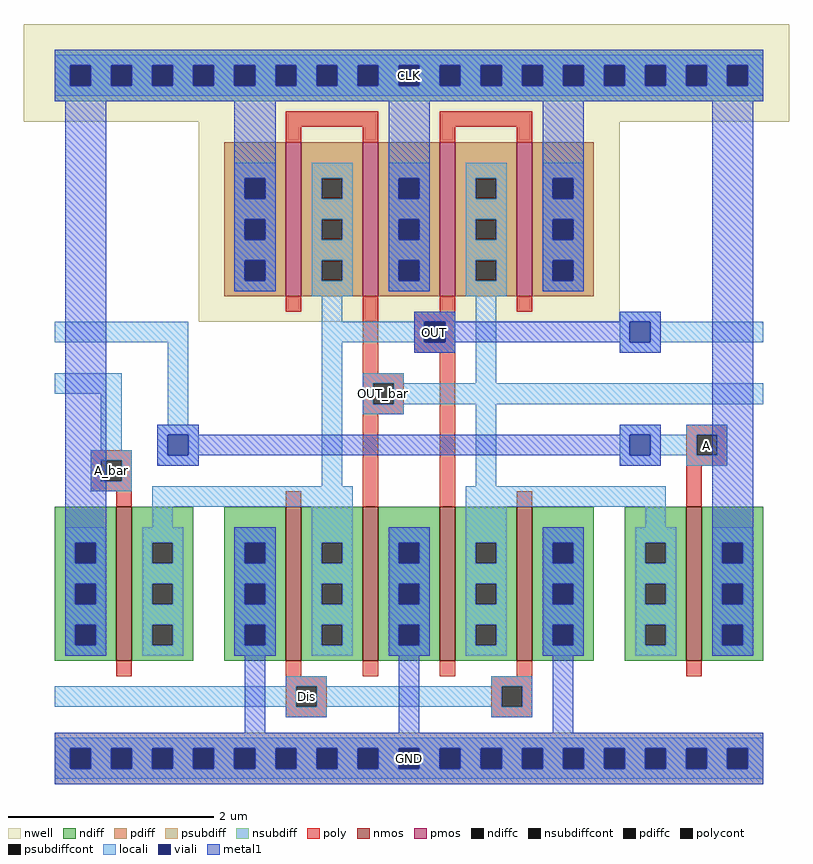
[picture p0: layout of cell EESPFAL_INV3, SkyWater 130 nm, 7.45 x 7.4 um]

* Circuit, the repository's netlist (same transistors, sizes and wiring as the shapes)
* NGSPICE file created from EESPFAL_INV3.ext - technology: sky130A

.subckt EESPFAL_INV3 A A_bar OUT OUT_bar Dis GND CLK
X0 OUT_bar OUT GND GND sky130_fd_pr__nfet_01v8 ad=1.8e+12p pd=8.4e+06u as=2.7e+12p ps=1.26e+07u w=1.5e+06u l=150000u
X1 CLK A OUT_bar GND sky130_fd_pr__nfet_01v8 ad=5.25e+12p pd=2.32e+07u as=0p ps=0u w=1.5e+06u l=150000u
X2 OUT Dis GND GND sky130_fd_pr__nfet_01v8 ad=1.8e+12p pd=8.4e+06u as=0p ps=0u w=1.5e+06u l=150000u
X3 CLK OUT OUT_bar CLK sky130_fd_pr__pfet_01v8 ad=2.7e+12p pd=1.26e+07u as=9e+11p ps=4.2e+06u w=1.5e+06u l=150000u M=2
X4 OUT A_bar CLK GND sky130_fd_pr__nfet_01v8 ad=0p pd=0u as=0p ps=0u w=1.5e+06u l=150000u
X5 CLK OUT_bar OUT CLK sky130_fd_pr__pfet_01v8 ad=0p pd=0u as=9e+11p ps=4.2e+06u w=1.5e+06u l=150000u M=2
X6 GND Dis OUT_bar GND sky130_fd_pr__nfet_01v8 ad=0p pd=0u as=0p ps=0u w=1.5e+06u l=150000u
X7 GND OUT_bar OUT GND sky130_fd_pr__nfet_01v8 ad=0p pd=0u as=0p ps=0u w=1.5e+06u l=150000u
.ends

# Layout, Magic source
magic
tech sky130A
<< nwell >>
rect -940 795 -195 890
rect -770 600 -360 795
<< nmos >>
rect -850 270 -835 420
rect -685 270 -670 420
rect -610 270 -595 420
rect -535 270 -520 420
rect -460 270 -445 420
rect -295 270 -280 420
<< pmos >>
rect -685 625 -670 775
rect -610 625 -595 775
rect -535 625 -520 775
rect -460 625 -445 775
<< ndiff >>
rect -910 385 -850 420
rect -910 365 -890 385
rect -870 365 -850 385
rect -910 345 -850 365
rect -910 325 -890 345
rect -870 325 -850 345
rect -910 305 -850 325
rect -910 285 -890 305
rect -870 285 -850 305
rect -910 270 -850 285
rect -835 385 -775 420
rect -835 365 -815 385
rect -795 365 -775 385
rect -835 345 -775 365
rect -835 325 -815 345
rect -795 325 -775 345
rect -835 305 -775 325
rect -835 285 -815 305
rect -795 285 -775 305
rect -835 270 -775 285
rect -745 385 -685 420
rect -745 365 -725 385
rect -705 365 -685 385
rect -745 345 -685 365
rect -745 325 -725 345
rect -705 325 -685 345
rect -745 305 -685 325
rect -745 285 -725 305
rect -705 285 -685 305
rect -745 270 -685 285
rect -670 385 -610 420
rect -670 365 -650 385
rect -630 365 -610 385
rect -670 345 -610 365
rect -670 325 -650 345
rect -630 325 -610 345
rect -670 305 -610 325
rect -670 285 -650 305
rect -630 285 -610 305
rect -670 270 -610 285
rect -595 385 -535 420
rect -595 365 -575 385
rect -555 365 -535 385
rect -595 345 -535 365
rect -595 325 -575 345
rect -555 325 -535 345
rect -595 305 -535 325
rect -595 285 -575 305
rect -555 285 -535 305
rect -595 270 -535 285
rect -520 385 -460 420
rect -520 365 -500 385
rect -480 365 -460 385
rect -520 345 -460 365
rect -520 325 -500 345
rect -480 325 -460 345
rect -520 305 -460 325
rect -520 285 -500 305
rect -480 285 -460 305
rect -520 270 -460 285
rect -445 385 -385 420
rect -445 365 -425 385
rect -405 365 -385 385
rect -445 345 -385 365
rect -445 325 -425 345
rect -405 325 -385 345
rect -445 305 -385 325
rect -445 285 -425 305
rect -405 285 -385 305
rect -445 270 -385 285
rect -355 385 -295 420
rect -355 365 -335 385
rect -315 365 -295 385
rect -355 345 -295 365
rect -355 325 -335 345
rect -315 325 -295 345
rect -355 305 -295 325
rect -355 285 -335 305
rect -315 285 -295 305
rect -355 270 -295 285
rect -280 385 -220 420
rect -280 365 -260 385
rect -240 365 -220 385
rect -280 345 -220 365
rect -280 325 -260 345
rect -240 325 -220 345
rect -280 305 -220 325
rect -280 285 -260 305
rect -240 285 -220 305
rect -280 270 -220 285
<< pdiff >>
rect -745 740 -685 775
rect -745 720 -725 740
rect -705 720 -685 740
rect -745 700 -685 720
rect -745 680 -725 700
rect -705 680 -685 700
rect -745 660 -685 680
rect -745 640 -725 660
rect -705 640 -685 660
rect -745 625 -685 640
rect -670 740 -610 775
rect -670 720 -650 740
rect -630 720 -610 740
rect -670 700 -610 720
rect -670 680 -650 700
rect -630 680 -610 700
rect -670 660 -610 680
rect -670 640 -650 660
rect -630 640 -610 660
rect -670 625 -610 640
rect -595 740 -535 775
rect -595 720 -575 740
rect -555 720 -535 740
rect -595 700 -535 720
rect -595 680 -575 700
rect -555 680 -535 700
rect -595 660 -535 680
rect -595 640 -575 660
rect -555 640 -535 660
rect -595 625 -535 640
rect -520 740 -460 775
rect -520 720 -500 740
rect -480 720 -460 740
rect -520 700 -460 720
rect -520 680 -500 700
rect -480 680 -460 700
rect -520 660 -460 680
rect -520 640 -500 660
rect -480 640 -460 660
rect -520 625 -460 640
rect -445 740 -385 775
rect -445 720 -425 740
rect -405 720 -385 740
rect -445 700 -385 720
rect -445 680 -425 700
rect -405 680 -385 700
rect -445 660 -385 680
rect -445 640 -425 660
rect -405 640 -385 660
rect -445 625 -385 640
<< ndiffc >>
rect -890 365 -870 385
rect -890 325 -870 345
rect -890 285 -870 305
rect -815 365 -795 385
rect -815 325 -795 345
rect -815 285 -795 305
rect -725 365 -705 385
rect -725 325 -705 345
rect -725 285 -705 305
rect -650 365 -630 385
rect -650 325 -630 345
rect -650 285 -630 305
rect -575 365 -555 385
rect -575 325 -555 345
rect -575 285 -555 305
rect -500 365 -480 385
rect -500 325 -480 345
rect -500 285 -480 305
rect -425 365 -405 385
rect -425 325 -405 345
rect -425 285 -405 305
rect -335 365 -315 385
rect -335 325 -315 345
rect -335 285 -315 305
rect -260 365 -240 385
rect -260 325 -240 345
rect -260 285 -240 305
<< pdiffc >>
rect -725 720 -705 740
rect -725 680 -705 700
rect -725 640 -705 660
rect -650 720 -630 740
rect -650 680 -630 700
rect -650 640 -630 660
rect -575 720 -555 740
rect -575 680 -555 700
rect -575 640 -555 660
rect -500 720 -480 740
rect -500 680 -480 700
rect -500 640 -480 660
rect -425 720 -405 740
rect -425 680 -405 700
rect -425 640 -405 660
<< psubdiff >>
rect -910 185 -220 200
rect -910 165 -895 185
rect -875 165 -855 185
rect -835 165 -815 185
rect -795 165 -775 185
rect -755 165 -735 185
rect -715 165 -695 185
rect -675 165 -655 185
rect -635 165 -615 185
rect -595 165 -575 185
rect -555 165 -535 185
rect -515 165 -495 185
rect -475 165 -455 185
rect -435 165 -415 185
rect -395 165 -375 185
rect -355 165 -335 185
rect -315 165 -295 185
rect -275 165 -255 185
rect -235 165 -220 185
rect -910 150 -220 165
<< nsubdiff >>
rect -910 850 -220 865
rect -910 830 -895 850
rect -875 830 -855 850
rect -835 830 -815 850
rect -795 830 -775 850
rect -755 830 -735 850
rect -715 830 -695 850
rect -675 830 -655 850
rect -635 830 -615 850
rect -595 830 -575 850
rect -555 830 -535 850
rect -515 830 -495 850
rect -475 830 -455 850
rect -435 830 -415 850
rect -395 830 -375 850
rect -355 830 -335 850
rect -315 830 -295 850
rect -275 830 -255 850
rect -235 830 -220 850
rect -910 815 -220 830
<< psubdiffcont >>
rect -895 165 -875 185
rect -855 165 -835 185
rect -815 165 -795 185
rect -775 165 -755 185
rect -735 165 -715 185
rect -695 165 -675 185
rect -655 165 -635 185
rect -615 165 -595 185
rect -575 165 -555 185
rect -535 165 -515 185
rect -495 165 -475 185
rect -455 165 -435 185
rect -415 165 -395 185
rect -375 165 -355 185
rect -335 165 -315 185
rect -295 165 -275 185
rect -255 165 -235 185
<< nsubdiffcont >>
rect -895 830 -875 850
rect -855 830 -835 850
rect -815 830 -795 850
rect -775 830 -755 850
rect -735 830 -715 850
rect -695 830 -675 850
rect -655 830 -635 850
rect -615 830 -595 850
rect -575 830 -555 850
rect -535 830 -515 850
rect -495 830 -475 850
rect -455 830 -435 850
rect -415 830 -395 850
rect -375 830 -355 850
rect -335 830 -315 850
rect -295 830 -275 850
rect -255 830 -235 850
<< poly >>
rect -685 790 -595 805
rect -685 775 -670 790
rect -610 775 -595 790
rect -535 790 -445 805
rect -535 775 -520 790
rect -460 775 -445 790
rect -685 610 -670 625
rect -610 550 -595 625
rect -535 610 -520 625
rect -460 610 -445 625
rect -560 600 -520 610
rect -560 580 -550 600
rect -530 580 -520 600
rect -560 570 -520 580
rect -610 540 -570 550
rect -610 520 -600 540
rect -580 520 -570 540
rect -610 510 -570 520
rect -875 465 -835 475
rect -875 445 -865 465
rect -845 445 -835 465
rect -875 435 -835 445
rect -850 420 -835 435
rect -685 420 -670 435
rect -610 420 -595 510
rect -535 420 -520 570
rect -295 490 -255 500
rect -295 470 -285 490
rect -265 470 -255 490
rect -295 460 -255 470
rect -460 420 -445 435
rect -295 420 -280 460
rect -850 255 -835 270
rect -685 255 -670 270
rect -610 255 -595 270
rect -535 255 -520 270
rect -460 255 -445 270
rect -295 255 -280 270
rect -685 245 -645 255
rect -685 225 -675 245
rect -655 225 -645 245
rect -685 215 -645 225
rect -485 245 -445 255
rect -485 225 -475 245
rect -455 225 -445 245
rect -485 215 -445 225
<< polycont >>
rect -550 580 -530 600
rect -600 520 -580 540
rect -865 445 -845 465
rect -285 470 -265 490
rect -675 225 -655 245
rect -475 225 -455 245
<< locali >>
rect -910 850 -220 860
rect -910 830 -895 850
rect -875 830 -855 850
rect -835 830 -815 850
rect -795 830 -775 850
rect -755 830 -735 850
rect -715 830 -695 850
rect -675 830 -655 850
rect -635 830 -615 850
rect -595 830 -575 850
rect -555 830 -535 850
rect -515 830 -495 850
rect -475 830 -455 850
rect -435 830 -415 850
rect -395 830 -375 850
rect -355 830 -335 850
rect -315 830 -295 850
rect -275 830 -255 850
rect -235 830 -220 850
rect -910 820 -220 830
rect -735 740 -695 755
rect -735 720 -725 740
rect -705 720 -695 740
rect -735 700 -695 720
rect -735 680 -725 700
rect -705 680 -695 700
rect -735 660 -695 680
rect -735 640 -725 660
rect -705 640 -695 660
rect -735 630 -695 640
rect -660 740 -620 755
rect -660 720 -650 740
rect -630 720 -620 740
rect -660 700 -620 720
rect -660 680 -650 700
rect -630 680 -620 700
rect -660 660 -620 680
rect -660 640 -650 660
rect -630 640 -620 660
rect -660 625 -620 640
rect -585 740 -545 755
rect -585 720 -575 740
rect -555 720 -545 740
rect -585 700 -545 720
rect -585 680 -575 700
rect -555 680 -545 700
rect -585 660 -545 680
rect -585 640 -575 660
rect -555 640 -545 660
rect -585 630 -545 640
rect -510 740 -470 755
rect -510 720 -500 740
rect -480 720 -470 740
rect -510 700 -470 720
rect -510 680 -500 700
rect -480 680 -470 700
rect -510 660 -470 680
rect -510 640 -500 660
rect -480 640 -470 660
rect -510 625 -470 640
rect -435 740 -395 755
rect -435 720 -425 740
rect -405 720 -395 740
rect -435 700 -395 720
rect -435 680 -425 700
rect -405 680 -395 700
rect -435 660 -395 680
rect -435 640 -425 660
rect -405 640 -395 660
rect -435 630 -395 640
rect -650 600 -630 625
rect -560 600 -520 610
rect -910 580 -780 600
rect -910 530 -845 550
rect -865 475 -845 530
rect -800 500 -780 580
rect -650 580 -550 600
rect -530 580 -520 600
rect -810 490 -770 500
rect -875 465 -835 475
rect -875 445 -865 465
rect -845 445 -835 465
rect -810 470 -800 490
rect -780 470 -770 490
rect -810 460 -770 470
rect -875 435 -835 445
rect -650 440 -630 580
rect -560 570 -520 580
rect -610 540 -570 550
rect -500 540 -480 625
rect -360 600 -320 610
rect -360 580 -350 600
rect -330 580 -220 600
rect -360 570 -320 580
rect -610 520 -600 540
rect -580 520 -220 540
rect -610 510 -570 520
rect -500 440 -480 520
rect -360 490 -320 500
rect -295 490 -255 500
rect -360 470 -350 490
rect -330 470 -285 490
rect -265 470 -255 490
rect -360 460 -320 470
rect -295 460 -255 470
rect -815 420 -620 440
rect -815 400 -795 420
rect -900 385 -860 400
rect -900 365 -890 385
rect -870 365 -860 385
rect -900 345 -860 365
rect -900 325 -890 345
rect -870 325 -860 345
rect -900 305 -860 325
rect -900 285 -890 305
rect -870 285 -860 305
rect -900 275 -860 285
rect -825 385 -785 400
rect -825 365 -815 385
rect -795 365 -785 385
rect -825 345 -785 365
rect -825 325 -815 345
rect -795 325 -785 345
rect -825 305 -785 325
rect -825 285 -815 305
rect -795 285 -785 305
rect -825 275 -785 285
rect -735 385 -695 400
rect -735 365 -725 385
rect -705 365 -695 385
rect -735 345 -695 365
rect -735 325 -725 345
rect -705 325 -695 345
rect -735 305 -695 325
rect -735 285 -725 305
rect -705 285 -695 305
rect -735 275 -695 285
rect -660 385 -620 420
rect -510 420 -315 440
rect -660 365 -650 385
rect -630 365 -620 385
rect -660 345 -620 365
rect -660 325 -650 345
rect -630 325 -620 345
rect -660 305 -620 325
rect -660 285 -650 305
rect -630 285 -620 305
rect -660 275 -620 285
rect -585 385 -545 400
rect -585 365 -575 385
rect -555 365 -545 385
rect -585 345 -545 365
rect -585 325 -575 345
rect -555 325 -545 345
rect -585 305 -545 325
rect -585 285 -575 305
rect -555 285 -545 305
rect -585 275 -545 285
rect -510 385 -470 420
rect -335 400 -315 420
rect -510 365 -500 385
rect -480 365 -470 385
rect -510 345 -470 365
rect -510 325 -500 345
rect -480 325 -470 345
rect -510 305 -470 325
rect -510 285 -500 305
rect -480 285 -470 305
rect -510 275 -470 285
rect -435 385 -395 400
rect -435 365 -425 385
rect -405 365 -395 385
rect -435 345 -395 365
rect -435 325 -425 345
rect -405 325 -395 345
rect -435 305 -395 325
rect -435 285 -425 305
rect -405 285 -395 305
rect -435 275 -395 285
rect -345 385 -305 400
rect -345 365 -335 385
rect -315 365 -305 385
rect -345 345 -305 365
rect -345 325 -335 345
rect -315 325 -305 345
rect -345 305 -305 325
rect -345 285 -335 305
rect -315 285 -305 305
rect -345 275 -305 285
rect -270 385 -230 400
rect -270 365 -260 385
rect -240 365 -230 385
rect -270 345 -230 365
rect -270 325 -260 345
rect -240 325 -230 345
rect -270 305 -230 325
rect -270 285 -260 305
rect -240 285 -230 305
rect -270 275 -230 285
rect -685 245 -645 255
rect -485 245 -445 255
rect -910 225 -675 245
rect -655 225 -475 245
rect -455 225 -445 245
rect -685 215 -645 225
rect -485 215 -445 225
rect -910 185 -220 195
rect -910 165 -895 185
rect -875 165 -855 185
rect -835 165 -815 185
rect -795 165 -775 185
rect -755 165 -735 185
rect -715 165 -695 185
rect -675 165 -655 185
rect -635 165 -615 185
rect -595 165 -575 185
rect -555 165 -535 185
rect -515 165 -495 185
rect -475 165 -455 185
rect -435 165 -415 185
rect -395 165 -375 185
rect -355 165 -335 185
rect -315 165 -295 185
rect -275 165 -255 185
rect -235 165 -220 185
rect -910 155 -220 165
<< viali >>
rect -895 830 -875 850
rect -855 830 -835 850
rect -815 830 -795 850
rect -775 830 -755 850
rect -735 830 -715 850
rect -695 830 -675 850
rect -655 830 -635 850
rect -615 830 -595 850
rect -575 830 -555 850
rect -535 830 -515 850
rect -495 830 -475 850
rect -455 830 -435 850
rect -415 830 -395 850
rect -375 830 -355 850
rect -335 830 -315 850
rect -295 830 -275 850
rect -255 830 -235 850
rect -725 720 -705 740
rect -725 680 -705 700
rect -725 640 -705 660
rect -575 720 -555 740
rect -575 680 -555 700
rect -575 640 -555 660
rect -425 720 -405 740
rect -425 680 -405 700
rect -425 640 -405 660
rect -550 580 -530 600
rect -800 470 -780 490
rect -350 580 -330 600
rect -350 470 -330 490
rect -890 365 -870 385
rect -890 325 -870 345
rect -890 285 -870 305
rect -725 365 -705 385
rect -725 325 -705 345
rect -725 285 -705 305
rect -575 365 -555 385
rect -575 325 -555 345
rect -575 285 -555 305
rect -425 365 -405 385
rect -425 325 -405 345
rect -425 285 -405 305
rect -260 365 -240 385
rect -260 325 -240 345
rect -260 285 -240 305
rect -895 165 -875 185
rect -855 165 -835 185
rect -815 165 -795 185
rect -775 165 -755 185
rect -735 165 -715 185
rect -695 165 -675 185
rect -655 165 -635 185
rect -615 165 -595 185
rect -575 165 -555 185
rect -535 165 -515 185
rect -495 165 -475 185
rect -455 165 -435 185
rect -415 165 -395 185
rect -375 165 -355 185
rect -335 165 -315 185
rect -295 165 -275 185
rect -255 165 -235 185
<< metal1 >>
rect -910 850 -220 865
rect -910 830 -895 850
rect -875 830 -855 850
rect -835 830 -815 850
rect -795 830 -775 850
rect -755 830 -735 850
rect -715 830 -695 850
rect -675 830 -655 850
rect -635 830 -615 850
rect -595 830 -575 850
rect -555 830 -535 850
rect -515 830 -495 850
rect -475 830 -455 850
rect -435 830 -415 850
rect -395 830 -375 850
rect -355 830 -335 850
rect -315 830 -295 850
rect -275 830 -255 850
rect -235 830 -220 850
rect -910 815 -220 830
rect -900 385 -860 815
rect -735 740 -695 815
rect -735 720 -725 740
rect -705 720 -695 740
rect -735 700 -695 720
rect -735 680 -725 700
rect -705 680 -695 700
rect -735 660 -695 680
rect -735 640 -725 660
rect -705 640 -695 660
rect -735 630 -695 640
rect -585 740 -545 815
rect -585 720 -575 740
rect -555 720 -545 740
rect -585 700 -545 720
rect -585 680 -575 700
rect -555 680 -545 700
rect -585 660 -545 680
rect -585 640 -575 660
rect -555 640 -545 660
rect -585 630 -545 640
rect -435 740 -395 815
rect -435 720 -425 740
rect -405 720 -395 740
rect -435 700 -395 720
rect -435 680 -425 700
rect -405 680 -395 700
rect -435 660 -395 680
rect -435 640 -425 660
rect -405 640 -395 660
rect -435 630 -395 640
rect -560 600 -520 610
rect -360 600 -320 610
rect -560 580 -550 600
rect -530 580 -350 600
rect -330 580 -320 600
rect -560 570 -520 580
rect -360 570 -320 580
rect -810 490 -770 500
rect -360 490 -320 500
rect -810 470 -800 490
rect -780 470 -350 490
rect -330 470 -320 490
rect -810 460 -770 470
rect -360 460 -320 470
rect -900 365 -890 385
rect -870 365 -860 385
rect -900 345 -860 365
rect -900 325 -890 345
rect -870 325 -860 345
rect -900 305 -860 325
rect -900 285 -890 305
rect -870 285 -860 305
rect -900 275 -860 285
rect -735 385 -695 400
rect -735 365 -725 385
rect -705 365 -695 385
rect -735 345 -695 365
rect -735 325 -725 345
rect -705 325 -695 345
rect -735 305 -695 325
rect -735 285 -725 305
rect -705 285 -695 305
rect -735 275 -695 285
rect -585 385 -545 400
rect -585 365 -575 385
rect -555 365 -545 385
rect -585 345 -545 365
rect -585 325 -575 345
rect -555 325 -545 345
rect -585 305 -545 325
rect -585 285 -575 305
rect -555 285 -545 305
rect -585 275 -545 285
rect -435 385 -395 400
rect -435 365 -425 385
rect -405 365 -395 385
rect -435 345 -395 365
rect -435 325 -425 345
rect -405 325 -395 345
rect -435 305 -395 325
rect -435 285 -425 305
rect -405 285 -395 305
rect -435 275 -395 285
rect -270 385 -230 815
rect -270 365 -260 385
rect -240 365 -230 385
rect -270 345 -230 365
rect -270 325 -260 345
rect -240 325 -230 345
rect -270 305 -230 325
rect -270 285 -260 305
rect -240 285 -230 305
rect -270 275 -230 285
rect -725 200 -705 275
rect -575 200 -555 275
rect -425 200 -405 275
rect -910 185 -220 200
rect -910 165 -895 185
rect -875 165 -855 185
rect -835 165 -815 185
rect -795 165 -775 185
rect -755 165 -735 185
rect -715 165 -695 185
rect -675 165 -655 185
rect -635 165 -615 185
rect -595 165 -575 185
rect -555 165 -535 185
rect -515 165 -495 185
rect -475 165 -455 185
rect -435 165 -415 185
rect -395 165 -375 185
rect -355 165 -335 185
rect -315 165 -295 185
rect -275 165 -255 185
rect -235 165 -220 185
rect -910 150 -220 165
<< labels >>
rlabel locali -675 225 -655 245 7 Dis
port 5 w
rlabel metal1 -575 830 -555 850 7 CLK
port 7 w
rlabel locali -285 470 -265 490 7 A
port 1 w
rlabel locali -865 445 -845 465 7 A_bar
port 2 w
rlabel metal1 -575 165 -555 185 7 GND
port 6 w
rlabel viali -550 580 -530 600 7 OUT
port 3 w
rlabel locali -600 520 -580 540 7 OUT_bar
port 4 w
<< end >>
